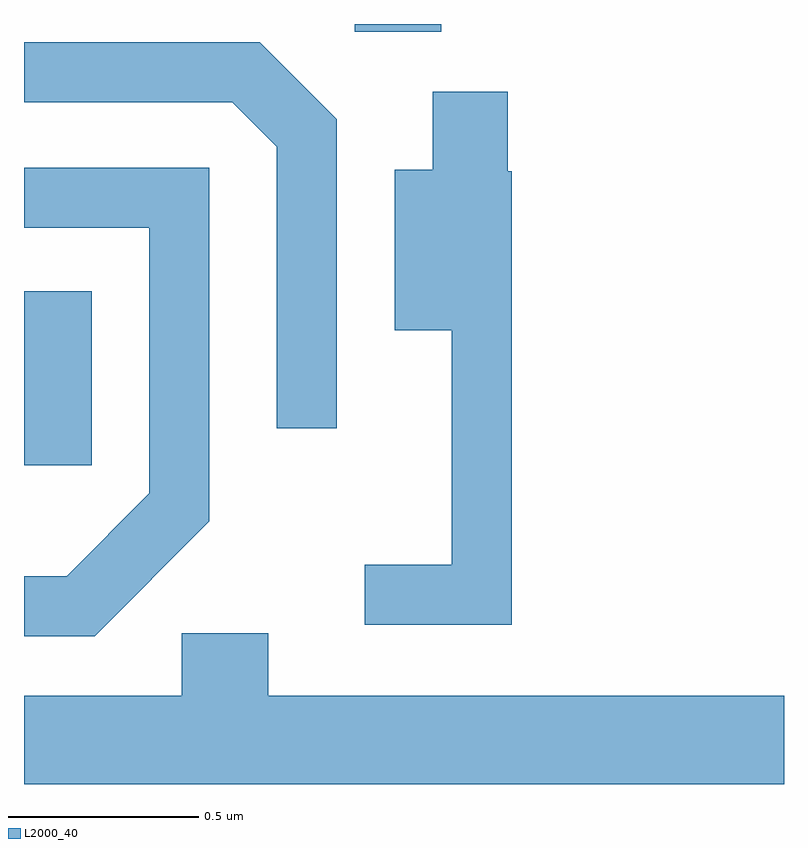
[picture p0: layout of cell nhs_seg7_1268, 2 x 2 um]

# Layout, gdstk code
import gdstk
lib = gdstk.Library(unit=1e-6, precision=1e-09)
def R(c, l, rs):  # rectangles x0, y0, x1, y1
    for r in rs: c.add(gdstk.rectangle(r[:2], r[2:], *l))
def P(c, l, *ps):  # polygons
    for p in ps: c.add(gdstk.Polygon(p, *l))
L2000_40 = (2000, 40)

nhs_seg7_1268 = lib.new_cell('nhs_seg7_1268')
R(nhs_seg7_1268, L2000_40, [(194.611,1704.091,194.789,1704.549), (195.481,1705.231,195.709,1705.252)])
P(nhs_seg7_1268, L2000_40, [(195.434,1705.002),(195.232,1705.204),(194.611,1705.204),(194.611,1705.046),(195.159,1705.046),(195.276,1704.929),(195.276,1704.188),(195.434,1704.188)],
  [(195.894,1704.865),(195.884,1704.865),(195.884,1705.074),(195.686,1705.074),(195.686,1704.869),(195.586,1704.869),(195.586,1704.446),(195.736,1704.446),(195.736,1703.829),(195.508,1703.829),(195.508,1703.671),(195.894,1703.671)],
  [(195.099,1703.944),(195.099,1704.874),(194.611,1704.874),(194.611,1704.716),(194.941,1704.716),(194.941,1704.017),(194.724,1703.799),(194.611,1703.799),(194.611,1703.641),(194.797,1703.641)],
  [(196.611,1703.484),(195.254,1703.484),(195.254,1703.649),(195.026,1703.649),(195.026,1703.484),(194.611,1703.484),(194.611,1703.252),(196.611,1703.252)])

lib.write_gds('nhs_seg7_1268.gds')
